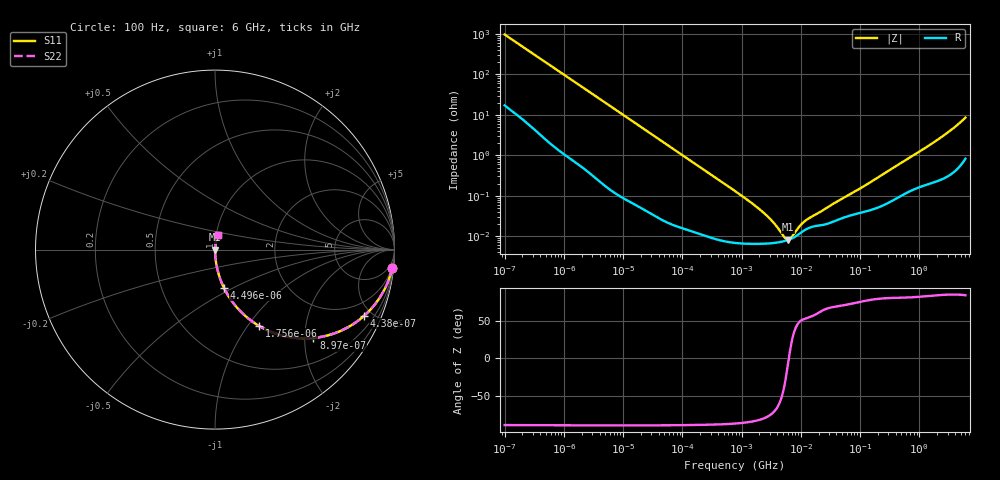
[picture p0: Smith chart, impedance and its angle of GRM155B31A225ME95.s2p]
!Murata Part Number: GRM155B31A225ME95
!These Parameters are Measured in Series Mode Connection
!Data Generated on Mar 30, 2021
!  o--ll--o
!Port1  Port2
!  o------o
!Operation Temp=25[degC], DC Bias Voltage=0[V]
!Freq. Start=100[Hz] Stop=6[GHz] 401[Steps]
# Hz S RI R 50
!Freq.(Hz) S11(Real) S11(Imag) S21(Real) S21(Imag) S12(Real) S12(Imag) S22(Real) S22(Imag)
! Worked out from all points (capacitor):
!   401 points, 100 Hz to 6 GHz, reference 50 ohm
!   read as one part in series: C = 1.63 uF near 109 Hz
!   lowest |Z| = 8.15 mohm at 6.075 MHz (marker M1)
!   series resonance near 6.275 MHz, so ESL is about 390 pH
!   S11 on the Smith chart (normalised r, x): 100 Hz: 1, -19; 438 Hz: 1.06, -4.50; 897 Hz: 1.02, -2.21; 1.756 kHz: 1.01, -1.13; 4.496 kHz: 1.00, -0.45; 6 GHz: 1.02, +0.17
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100  0.9878 -0.1014  0.0122 0.1014  0.0122 0.1014  0.9878 -0.1014
245  0.9382 -0.2332  0.0618 0.2332  0.0618 0.2332  0.9382 -0.2332
438  0.832 -0.3676  0.168 0.3676  0.168 0.3676  0.832 -0.3676
897  0.5488 -0.4922  0.4512 0.4922  0.4512 0.4922  0.5488 -0.4922
1227  0.3963 -0.4838  0.6037 0.4838  0.6037 0.4838  0.3963 -0.4838
1756  0.2452 -0.425  0.7548 0.425  0.7548 0.425  0.2452 -0.425
2008  0.1998 -0.3947  0.8002 0.3947  0.8002 0.3947  0.1998 -0.3947
2873  0.11 -0.3081  0.89 0.3081  0.89 0.3081  0.11 -0.3081
4496  0.0489 -0.2112  0.9511 0.2112  0.9511 0.2112  0.0489 -0.2112
11514  0.00831 -0.0864  0.9917 0.0864  0.9917 0.0864  0.00831 -0.0864
40335  0.000904 -0.025  0.9991 0.025  0.9991 0.025  0.000904 -0.025
774597  7e-05 -0.00131  0.9999 0.00131  0.9999 0.00131  7e-05 -0.00131
2169299  6.5e-05 -0.000418  0.9999 0.000418  0.9999 0.000418  6.5e-05 -0.000418
3245845  6.72e-05 -0.000232  0.9999 0.000232  0.9999 0.000232  6.72e-05 -0.000232
4856642  7.36e-05 -8.47e-05  0.9999 8.47e-05  0.9999 8.47e-05  7.36e-05 -8.47e-05
6075234  8.08e-05 -1.04e-05  0.9999 1.04e-05  0.9999 1.04e-05  8.08e-05 -1.04e-05
7266822  9.02e-05 4.77e-05  0.9999 -4.77e-05  0.9999 -4.77e-05  9.02e-05 4.77e-05
1.087309e7  0.000133 0.00017  0.9999 -0.00017  0.9999 -0.00017  0.000133 0.00017
1.555665e7  0.000171 0.000258  0.9998 -0.000258  0.9998 -0.000258  0.000171 0.000258
3.124326e8  0.000705 0.00422  0.9993 -0.00422  0.9993 -0.00422  0.000705 0.00422
1.95892e9  0.00279 0.0231  0.9972 -0.0231  0.9972 -0.0231  0.00279 0.0231
6e9  0.0152 0.0834  0.9848 -0.0834  0.9848 -0.0834  0.0152 0.0834
